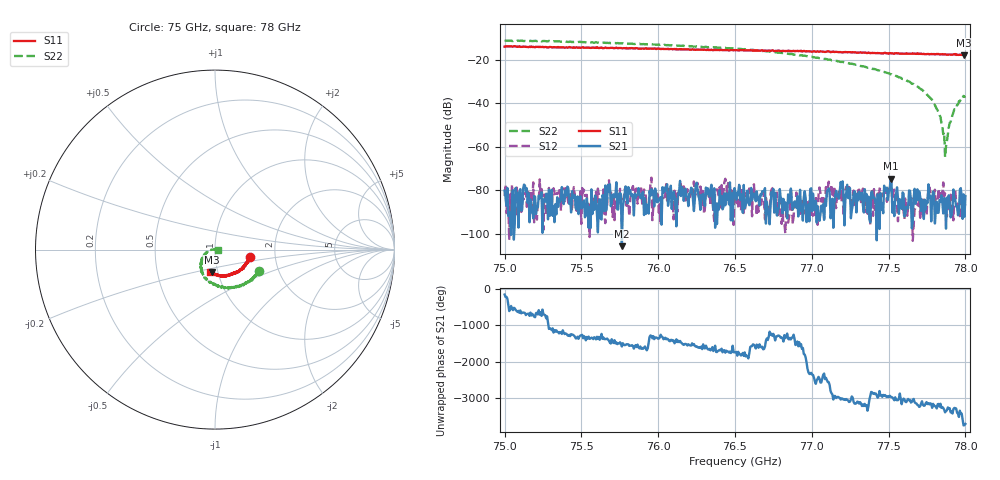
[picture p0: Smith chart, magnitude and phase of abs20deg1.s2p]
# Hz S MA R 50
! CMT, C4420, 21421029, 25.1.2/3
! Date: 8/7/2025 1:30:45 PM
! Data: Format (Calibration Info)
! Freq	S33:Mag/Ang(F2)	S43:Mag/Ang(F2)	S34:Mag/Ang(F2)	S44:Mag/Ang(F2)
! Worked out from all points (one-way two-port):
!   500 points, 75 GHz to 78 GHz, reference 50 ohm
!   highest |S21| = -74.69 dB at 77.513 GHz (marker M1); lowest = -105.7 dB at 75.764 GHz (marker M2)
!   lowest |S11| = -18.0 dB at 77.988 GHz (marker M3), VSWR 1.29, Z = 46.7 - j11.8 ohm
!   |S11| at or under -10 dB: start of sweep to end of sweep
!   |S22| runs from -64.8 to -11.3 dB; largest |S21 - S12| = 0.00018
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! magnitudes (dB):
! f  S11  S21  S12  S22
! 75 GHz  -14.1  -80.2  -82.6  -11.3
! 75.505 GHz  -14.4  -87.9  -79.0  -12.0
! 75.764 GHz  -14.8  -105.7  -94.3  -12.7
! 75.962 GHz  -15.0  -80.0  -93.7  -13.1
! 76.004 GHz  -15.1  -84.2  -90.3  -13.1
! 76.154 GHz  -15.2  -78.6  -80.5  -13.7
! 76.383 GHz  -15.6  -95.5  -79.6  -14.5
! 76.443 GHz  -15.7  -81.4  -76.5  -14.8
! 76.503 GHz  -15.7  -82.4  -85.2  -15.0
! 77.002 GHz  -16.4  -89.6  -85.5  -18.8
! 77.501 GHz  -17.3  -80.8  -79.7  -26.3
! 77.513 GHz  -17.1  -74.7  -79.3  -26.8
! 77.537 GHz  -17.3  -91.9  -79.7  -27.1
! 77.675 GHz  -17.4  -86.2  -88.1  -31.9
! 77.778 GHz  -17.5  -94.3  -81.6  -38.2
! 77.832 GHz  -17.7  -84.6  -83.1  -45.6
! 77.868 GHz  -17.6  -84.3  -81.5  -64.8
! 77.88 GHz  -17.8  -83.4  -92.0  -57.5
! 77.898 GHz  -17.7  -86.8  -86.5  -49.1
! 77.922 GHz  -17.7  -79.7  -93.8  -44.3
! 77.988 GHz  -18.0  -81.9  -88.0  -36.7
! 78 GHz  -17.9  -82.7  -87.3  -36.8
